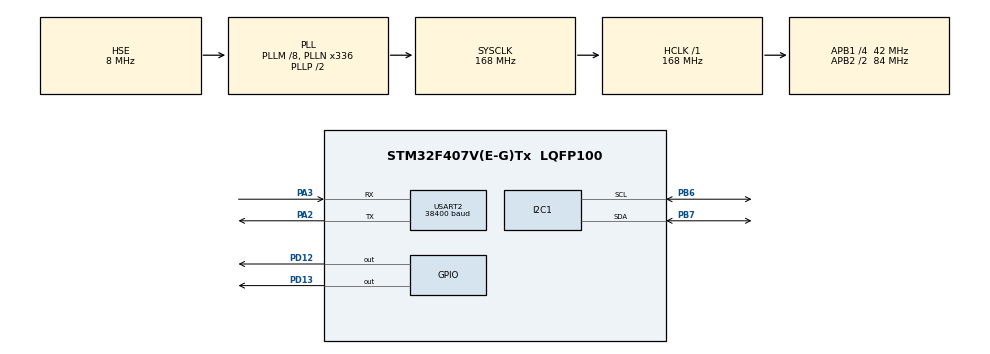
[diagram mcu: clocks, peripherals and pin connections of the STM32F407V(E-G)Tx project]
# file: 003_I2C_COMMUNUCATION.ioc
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ADC1.Channel-0\#ChannelRegularConversion=ADC_CHANNEL_TEMPSENSOR
ADC1.ContinuousConvMode=ENABLE
ADC1.EOCSelection=ADC_EOC_SEQ_CONV
ADC1.NbrOfConversionFlag=1
ADC1.Rank-0\#ChannelRegularConversion=1
ADC1.SamplingTime-0\#ChannelRegularConversion=ADC_SAMPLETIME_480CYCLES
ADC1.master=1
I2C1.AddressingMode=I2C_ADDRESSINGMODE_7BIT
I2C1.NoStretchMode=I2C_NOSTRETCH_DISABLE
I2C1.OwnAddress=7
Mcu.Family=STM32F4
Mcu.Name=STM32F407V(E-G)Tx
Mcu.Package=LQFP100
NVIC.I2C1_ER_IRQn=true\:0\:0\:false\:false\:true\:true\:true
NVIC.I2C1_EV_IRQn=true\:0\:0\:false\:false\:true\:true\:true
NVIC.PriorityGroup=NVIC_PRIORITYGROUP_0
PA2.Mode=Asynchronous
PA2.Signal=USART2_TX
PA3.Mode=Asynchronous
PA3.Signal=USART2_RX
PB6.GPIO_Pu=GPIO_PULLUP
PB6.Mode=I2C
PB6.Signal=I2C1_SCL
PB7.GPIO_Pu=GPIO_PULLUP
PB7.Mode=I2C
PB7.Signal=I2C1_SDA
PD12.Signal=GPIO_Output
PD13.Signal=GPIO_Output
PH0-OSC_IN.Mode=HSE-External-Oscillator
PH0-OSC_IN.Signal=RCC_OSC_IN
PH1-OSC_OUT.Mode=HSE-External-Oscillator
PH1-OSC_OUT.Signal=RCC_OSC_OUT
ProjectManager.HeapSize=0x200
ProjectManager.StackSize=0x400
ProjectManager.TargetToolchain=STM32CubeIDE
RCC.48MHZClocksFreq_Value=48000000
RCC.AHBFreq_Value=168000000
RCC.APB1CLKDivider=RCC_HCLK_DIV4
RCC.APB1Freq_Value=42000000
RCC.APB1TimFreq_Value=84000000
RCC.APB2CLKDivider=RCC_HCLK_DIV2
RCC.APB2Freq_Value=84000000
RCC.APB2TimFreq_Value=168000000
RCC.CortexFreq_Value=168000000
RCC.HCLKFreq_Value=168000000
RCC.HSE_VALUE=8000000
RCC.HSI_VALUE=16000000
RCC.LSE_VALUE=32768
RCC.PLLM=8
RCC.PLLN=336
RCC.PLLQ=7
RCC.PLLSourceVirtual=RCC_PLLSOURCE_HSE
RCC.SYSCLKFreq_VALUE=168000000
RCC.SYSCLKSource=RCC_SYSCLKSOURCE_PLLCLK
RCC.VCOOutputFreq_Value=336000000
USART2.BaudRate=38400
USART2.VirtualMode=VM_ASYNC
VP_ADC1_TempSens_Input.Mode=IN-TempSens
board=STM32F407G-DISC1

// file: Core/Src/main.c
/* USER CODE BEGIN Header */
/**
  ******************************************************************************
  * @file           : main.c
  * @brief          : Main program body
  ******************************************************************************
  * @attention
  *
  * Copyright (c) 2022 STMicroelectronics.
  * All rights reserved.
  *
  * This software is licensed under terms that can be found in the LICENSE file
  * in the root directory of this software component.
  * If no LICENSE file comes with this software, it is provided AS-IS.
  *
  ******************************************************************************
  */
/* USER CODE END Header */
#include "main.h"

/* USER CODE BEGIN Includes */
#include <string.h>
#include <stdlib.h>
#include <stdio.h>
/* USER CODE END Includes */

/* USER CODE BEGIN PD */
#define TEMP_OUT_INT_REGISTER   0x0
#define TEMP_OUT_FRAC_REGISTER  0x1
#define WHO_AM_I_REGISTER       0xF
#define WHO_AM_I_VALUE          0xBC
#define TRANSFER_DIR_WRITE      0x1
#define TRANSFER_DIR_READ       0x0
#define I2C_SLAVE_ADDR          0xAA
#define SLAVE_BOARD
/* USER CODE END PD */

ADC_HandleTypeDef hadc1;

I2C_HandleTypeDef hi2c1;

UART_HandleTypeDef huart2;

/* USER CODE BEGIN PV */
volatile uint8_t transferDirection, transferRequested;
/* USER CODE END PV */

void SystemClock_Config(void);
static void MX_GPIO_Init(void);
static void MX_I2C1_Init(void);
static void MX_ADC1_Init(void);
static void MX_USART2_UART_Init(void);
/* USER CODE BEGIN PFP */

#ifdef SLAVE_BOARD
static void MX_ADC1_Init(void);
#endif
/* USER CODE END PFP */

int main(void)
{
  /* USER CODE BEGIN 1 */
	char uartBuf[25];
	uint8_t i2cBuf[2] = {0};
	float ftemp;
	volatile int8_t t_frac = 0, t_int= 0;
  /* USER CODE END 1 */

  /* MCU Configuration--------------------------------------------------------*/

  /* Reset of all peripherals, Initializes the Flash interface and the Systick. */
  HAL_Init();

  /* Configure the system clock */
  SystemClock_Config();

  /* Initialize all configured peripherals */
  MX_GPIO_Init();
  MX_I2C1_Init();
  MX_ADC1_Init();
  MX_USART2_UART_Init();
  /* USER CODE BEGIN 2 */
#ifdef SLAVE_BOARD
  uint16_t rawValue;
  uint32_t lastConversion;

  MX_ADC1_Init();
  HAL_ADC_Start(&hadc1);
  while(1) {
    HAL_I2C_EnableListen_IT(&hi2c1);
    while(!transferRequested) {
      if(HAL_GetTick() - lastConversion > 1000L) {
        HAL_ADC_PollForConversion(&hadc1, HAL_MAX_DELAY);

        rawValue = HAL_ADC_GetValue(&hadc1);
        ftemp = ((float)rawValue) / 4095 * 3000;
        ftemp = ((ftemp - 760.0) / 2.5) + 25;

        t_int = ftemp;
        t_frac = (ftemp - t_int)*100;
        /*
        sprintf(uartBuf, "Temperature: %.2f\r\n", ftemp);
        HAL_UART_Transmit(&huart2, (uint8_t*)uartBuf, strlen(uartBuf), HAL_MAX_DELAY);

        sprintf(uartBuf, "t_int: %d - t_frac: %d\r\n", t_int, t_frac);
        HAL_UART_Transmit(&huart2, (uint8_t*)uartBuf, strlen(uartBuf), HAL_MAX_DELAY);
*/
        lastConversion = HAL_GetTick();
      }
    }

    if(transferDirection == TRANSFER_DIR_WRITE) {
      /* Master is sending register address */
      HAL_I2C_Slave_Seq_Receive_IT(&hi2c1, i2cBuf, 1, I2C_FIRST_FRAME);
      while (HAL_I2C_GetState(&hi2c1) != HAL_I2C_STATE_LISTEN);

      switch(i2cBuf[0]) {
        case WHO_AM_I_REGISTER:
          i2cBuf[0] = WHO_AM_I_VALUE;
          break;
        case TEMP_OUT_INT_REGISTER:
          i2cBuf[0] = t_int;
          break;
        case TEMP_OUT_FRAC_REGISTER:
          i2cBuf[0] = t_frac;
          break;
        default:
          i2cBuf[0] = 0xFF;
      }

      HAL_I2C_Slave_Sequential_Transmit_IT(&hi2c1, i2cBuf, 1, I2C_LAST_FRAME);
      while (HAL_I2C_GetState(&hi2c1) != HAL_I2C_STATE_READY);
      transferRequested = 0;
    }
  }

#else //Master board
while(1){
	  i2cBuf[0] = WHO_AM_I_REGISTER;
	  	HAL_I2C_Master_Seq_Transmit_IT(&hi2c1, I2C_SLAVE_ADDR, i2cBuf,
	                                          1, I2C_FIRST_FRAME);
	    while (HAL_I2C_GetState(&hi2c1) != HAL_I2C_STATE_READY);

	    HAL_I2C_Master_Seq_Receive_IT(&hi2c1, I2C_SLAVE_ADDR, i2cBuf,
	                                         1, I2C_LAST_FRAME);
	    while (HAL_I2C_GetState(&hi2c1) != HAL_I2C_STATE_READY);

	    sprintf(uartBuf, "WHO AM I: %x\r\n", i2cBuf[0]);
	    HAL_UART_Transmit(&huart2, (uint8_t*) uartBuf, 1, HAL_MAX_DELAY);

	    i2cBuf[0] = TEMP_OUT_INT_REGISTER;
	    HAL_I2C_Master_Seq_Transmit_IT(&hi2c1, I2C_SLAVE_ADDR, i2cBuf,
	                                          1, I2C_FIRST_FRAME);
	    while (HAL_I2C_GetState(&hi2c1) != HAL_I2C_STATE_READY);

	    HAL_I2C_Master_Seq_Receive_IT(&hi2c1, I2C_SLAVE_ADDR, (uint8_t*)&t_int,
	                                         1, I2C_LAST_FRAME);
	    while (HAL_I2C_GetState(&hi2c1) != HAL_I2C_STATE_READY);

	    i2cBuf[0] = TEMP_OUT_FRAC_REGISTER;
	    HAL_I2C_Master_Seq_Transmit_IT(&hi2c1, I2C_SLAVE_ADDR, i2cBuf,
	                                          1, I2C_FIRST_FRAME);
	    while (HAL_I2C_GetState(&hi2c1) != HAL_I2C_STATE_READY);

	    HAL_I2C_Master_Seq_Receive_IT(&hi2c1, I2C_SLAVE_ADDR, (uint8_t*)&t_frac,
	                                         1, I2C_LAST_FRAME);
	    while (HAL_I2C_GetState(&hi2c1) != HAL_I2C_STATE_READY);
/*
	    ftemp = t_int;
	    ftemp_temporary = t_frac;
	    ftemp_temporary = (ftemp_temporary)/100;
	    ftemp += ftemp_temporary;
*/
	    ftemp = ((float)t_frac)/100.0;
	      ftemp += (float)t_int;

	    /*sprintf(uartBuf, "t_int: %d\r\n", (uint8_t)t_int);
	    	    HAL_UART_Transmit(&huart2, (uint8_t*) uartBuf, 1, HAL_MAX_DELAY);
	    	    HAL_Delay(100);
	    	    sprintf(uartBuf, "t_frac: %d\r\n", (uint8_t)t_frac);
	    	    	    HAL_UART_Transmit(&huart2, (uint8_t*) uartBuf, 1, HAL_MAX_DELAY);
	    	    	    HAL_Delay(100);*/
	    sprintf(uartBuf, "Temperature: %.2f\r\n", ftemp);
	    HAL_UART_Transmit(&huart2, (uint8_t*) uartBuf, strlen(uartBuf), HAL_MAX_DELAY);
	    HAL_Delay(1000);
}
#endif
  /* USER CODE END 2 */

  /* Infinite loop */
  while (1)
  {

  }
}

void SystemClock_Config(void)
{
  RCC_OscInitTypeDef RCC_OscInitStruct = {0};
  RCC_ClkInitTypeDef RCC_ClkInitStruct = {0};

  /** Configure the main internal regulator output voltage
  */
  __HAL_RCC_PWR_CLK_ENABLE();
  __HAL_PWR_VOLTAGESCALING_CONFIG(PWR_REGULATOR_VOLTAGE_SCALE1);
  /** Initializes the RCC Oscillators according to the specified parameters
  * in the RCC_OscInitTypeDef structure.
  */
  RCC_OscInitStruct.OscillatorType = RCC_OSCILLATORTYPE_HSE;
  RCC_OscInitStruct.HSEState = RCC_HSE_ON;
  RCC_OscInitStruct.PLL.PLLState = RCC_PLL_ON;
  RCC_OscInitStruct.PLL.PLLSource = RCC_PLLSOURCE_HSE;
  RCC_OscInitStruct.PLL.PLLM = 8;
  RCC_OscInitStruct.PLL.PLLN = 336;
  RCC_OscInitStruct.PLL.PLLP = RCC_PLLP_DIV2;
  RCC_OscInitStruct.PLL.PLLQ = 7;
  if (HAL_RCC_OscConfig(&RCC_OscInitStruct) != HAL_OK)
  {
    Error_Handler();
  }
  /** Initializes the CPU, AHB and APB buses clocks
  */
  RCC_ClkInitStruct.ClockType = RCC_CLOCKTYPE_HCLK|RCC_CLOCKTYPE_SYSCLK
                              |RCC_CLOCKTYPE_PCLK1|RCC_CLOCKTYPE_PCLK2;
  RCC_ClkInitStruct.SYSCLKSource = RCC_SYSCLKSOURCE_PLLCLK;
  RCC_ClkInitStruct.AHBCLKDivider = RCC_SYSCLK_DIV1;
  RCC_ClkInitStruct.APB1CLKDivider = RCC_HCLK_DIV4;
  RCC_ClkInitStruct.APB2CLKDivider = RCC_HCLK_DIV2;

  if (HAL_RCC_ClockConfig(&RCC_ClkInitStruct, FLASH_LATENCY_5) != HAL_OK)
  {
    Error_Handler();
  }
}

static void MX_ADC1_Init(void)
{

  ADC_ChannelConfTypeDef sConfig = {0};

  /** Configure the global features of the ADC (Clock, Resolution, Data Alignment and number of conversion)
  */
  hadc1.Instance = ADC1;
  hadc1.Init.ClockPrescaler = ADC_CLOCK_SYNC_PCLK_DIV4;
  hadc1.Init.Resolution = ADC_RESOLUTION_12B;
  hadc1.Init.ScanConvMode = DISABLE;
  hadc1.Init.ContinuousConvMode = ENABLE;
  hadc1.Init.DiscontinuousConvMode = DISABLE;
  hadc1.Init.ExternalTrigConvEdge = ADC_EXTERNALTRIGCONVEDGE_NONE;
  hadc1.Init.ExternalTrigConv = ADC_SOFTWARE_START;
  hadc1.Init.DataAlign = ADC_DATAALIGN_RIGHT;
  hadc1.Init.NbrOfConversion = 1;
  hadc1.Init.DMAContinuousRequests = DISABLE;
  hadc1.Init.EOCSelection = ADC_EOC_SEQ_CONV;
  if (HAL_ADC_Init(&hadc1) != HAL_OK)
  {
    Error_Handler();
  }
  /** Configure for the selected ADC regular channel its corresponding rank in the sequencer and its sample time.
  */
  sConfig.Channel = ADC_CHANNEL_TEMPSENSOR;
  sConfig.Rank = 1;
  sConfig.SamplingTime = ADC_SAMPLETIME_480CYCLES;
  if (HAL_ADC_ConfigChannel(&hadc1, &sConfig) != HAL_OK)
  {
    Error_Handler();
  }

}

static void MX_I2C1_Init(void)
{

  hi2c1.Instance = I2C1;
  hi2c1.Init.ClockSpeed = 88000;
  hi2c1.Init.DutyCycle = I2C_DUTYCYCLE_2;
  hi2c1.Init.OwnAddress1 = I2C_SLAVE_ADDR;
  hi2c1.Init.AddressingMode = I2C_ADDRESSINGMODE_7BIT;
  hi2c1.Init.DualAddressMode = I2C_DUALADDRESS_DISABLE;
  hi2c1.Init.OwnAddress2 = 0;
  hi2c1.Init.GeneralCallMode = I2C_GENERALCALL_DISABLE;
  hi2c1.Init.NoStretchMode = I2C_NOSTRETCH_DISABLE;
  if (HAL_I2C_Init(&hi2c1) != HAL_OK)
  {
    Error_Handler();
  }
  /* USER CODE BEGIN I2C1_Init 2 */
  HAL_NVIC_SetPriority(I2C1_EV_IRQn, 0, 0);
  HAL_NVIC_EnableIRQ(I2C1_EV_IRQn);
  HAL_NVIC_SetPriority(I2C1_ER_IRQn, 0, 0);
  HAL_NVIC_EnableIRQ(I2C1_ER_IRQn);
  /* USER CODE END I2C1_Init 2 */

}

static void MX_USART2_UART_Init(void)
{

  huart2.Instance = USART2;
  huart2.Init.BaudRate = 38400;
  huart2.Init.WordLength = UART_WORDLENGTH_8B;
  huart2.Init.StopBits = UART_STOPBITS_1;
  huart2.Init.Parity = UART_PARITY_NONE;
  huart2.Init.Mode = UART_MODE_TX_RX;
  huart2.Init.HwFlowCtl = UART_HWCONTROL_NONE;
  huart2.Init.OverSampling = UART_OVERSAMPLING_16;
  if (HAL_UART_Init(&huart2) != HAL_OK)
  {
    Error_Handler();
  }

}

static void MX_GPIO_Init(void)
{
  GPIO_InitTypeDef GPIO_InitStruct = {0};

  /* GPIO Ports Clock Enable */
  __HAL_RCC_GPIOH_CLK_ENABLE();
  __HAL_RCC_GPIOA_CLK_ENABLE();
  __HAL_RCC_GPIOD_CLK_ENABLE();
  __HAL_RCC_GPIOB_CLK_ENABLE();

  /*Configure GPIO pin Output Level */
  HAL_GPIO_WritePin(GPIOD, GPIO_PIN_12|GPIO_PIN_13, GPIO_PIN_RESET);

  /*Configure GPIO pins : PD12 PD13 */
  GPIO_InitStruct.Pin = GPIO_PIN_12|GPIO_PIN_13;
  GPIO_InitStruct.Mode = GPIO_NOPULL;
  GPIO_InitStruct.Pull = GPIO_NOPULL;
  GPIO_InitStruct.Speed = GPIO_SPEED_FREQ_LOW;
  HAL_GPIO_Init(GPIOD, &GPIO_InitStruct);

}

/* USER CODE BEGIN 4 */
#ifdef SLAVE_BOARD
void HAL_I2C_AddrCallback(I2C_HandleTypeDef *hi2c, uint8_t TransferDirection, uint16_t AddrMatchCode) {
  UNUSED(AddrMatchCode);

  if(hi2c->Instance == I2C1) {
    transferRequested = 1;
    transferDirection = TransferDirection;
    HAL_I2C_EnableListen_IT(&hi2c1);
    HAL_GPIO_TogglePin(GPIOD, GPIO_PIN_12);
  }
}
void HAL_I2C_ErrorCallback(I2C_HandleTypeDef *hi2c)
{
	HAL_GPIO_TogglePin(GPIOD, GPIO_PIN_13);

}
#endif
/* USER CODE END 4 */

void Error_Handler(void)
{
  __disable_irq();
  while (1)
  {
  }
}
